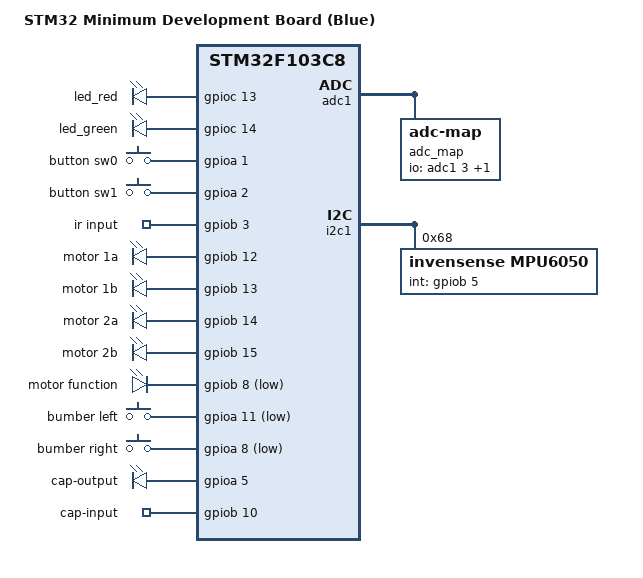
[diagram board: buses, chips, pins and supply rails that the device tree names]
/*
 * Copyright (c) 2017, embedjournal.com
 *
 * SPDX-License-Identifier: Apache-2.0
 */

/dts-v1/;
#include "stm32_min_dev.dtsi"

/ {
	model = "STM32 Minimum Development Board (Blue)";
	compatible = "st,stm32_min_dev_blue", "st,stm32f103c8";

	leds {
	    compatible = "gpio-leds";
		led_red {
			gpios = <&gpioc 13 GPIO_ACTIVE_HIGH>;
			label = "led_red";
		};
		led_green  {
			gpios = <&gpioc 14 GPIO_ACTIVE_HIGH>;
			label = "led_green";
		};		
	};
	
	buttons {
		compatible = "gpio-keys";
		button_sw0 {
			label = "button sw0";
			gpios = <&gpioa 1 GPIO_INT_ACTIVE_HIGH >;
		};
		button_sw1 {
			label = "button sw1";
			gpios = <&gpioa 2 GPIO_INT_ACTIVE_HIGH >;
		};
        };
    

	ir_receiver_input
	{
		compatible = "gpio-keys";
		ir_input: ir_input {
			label = "ir input";
			gpios = <&gpiob 3 GPIO_INT_ACTIVE_HIGH >;
		};
	};
	
	motor_control
	{
	   compatible = "gpio-leds";
	   motor_1a {
			gpios = <&gpiob 12 GPIO_ACTIVE_HIGH>;
			label = "motor 1a";
	   };
	   motor_1b {
			gpios = <&gpiob 13 GPIO_ACTIVE_HIGH>;
			label = "motor 1b";
	   };
	   motor_2a {
			gpios = <&gpiob 14 GPIO_ACTIVE_HIGH>;
			label = "motor 2a";
	   };
	   motor_2b {
			gpios = <&gpiob 15 GPIO_ACTIVE_HIGH>;
			label = "motor 2b";
	   };
	   motor_fun: motor_fun {
			gpios = <&gpiob 8 GPIO_ACTIVE_LOW>;
			label = "motor function";
	   };
	};
	
	motor_bumbers
	{
		compatible = "gpio-keys";
		bumber_left: bumber_left {
			label = "bumber left";
			gpios = <&gpioa 11 (GPIO_PULL_UP | GPIO_ACTIVE_LOW)>;
		};
		bumber_right: bumber_right {
			label = "bumber right";
			gpios = <&gpioa 8 (GPIO_PULL_UP | GPIO_ACTIVE_LOW)>;
		};
	};
	
	cap-gpio-out {
			compatible = "gpio-leds";
			cap-out {
					gpios = <&gpioa 5 GPIO_ACTIVE_HIGH>;
					label = "cap-output";
			};
	};
	cap-gpio-in
	{
		compatible =  "gpio-keys";
		cap-in {
			gpios = <&gpiob 10 GPIO_ACTIVE_HIGH >;
			label = "cap-input";
		};
}; 
		

};

&adc1 {
	status = "okay";

	adc_map: adcmap {
	    compatible="adc-map";
	    io-channels = <&adc1 3>, <&adc1 4>; 
	    io-channel-names = "BVOLT", "BMOTOR_CURR";
	};

};


&usart1 {
	parity = <2>;
};

&i2c1 {
        mpu6050@68 {
                compatible = "invensense,mpu6050";
                reg = <0x68>;
                status = "okay";
                label = "MPU6050";
                int-gpios = <&gpiob 5 GPIO_ACTIVE_HIGH>;
        };
};


&flash0 {
        /*
         * For more information, see:
         * http://docs.zephyrproject.org/latest/guides/dts/index.html#flash-partitions
         */
        partitions {
                compatible = "fixed-partitions";
                #address-cells = <1>;
                #size-cells = <1>;

                /* Set 6Kb of storage at the end of the 64Kb of flash */
                storage_partition: partition@e800 {
                        label = "storage";
                        reg = <0x0000e800 0x00001800>;
                };
        };
};

